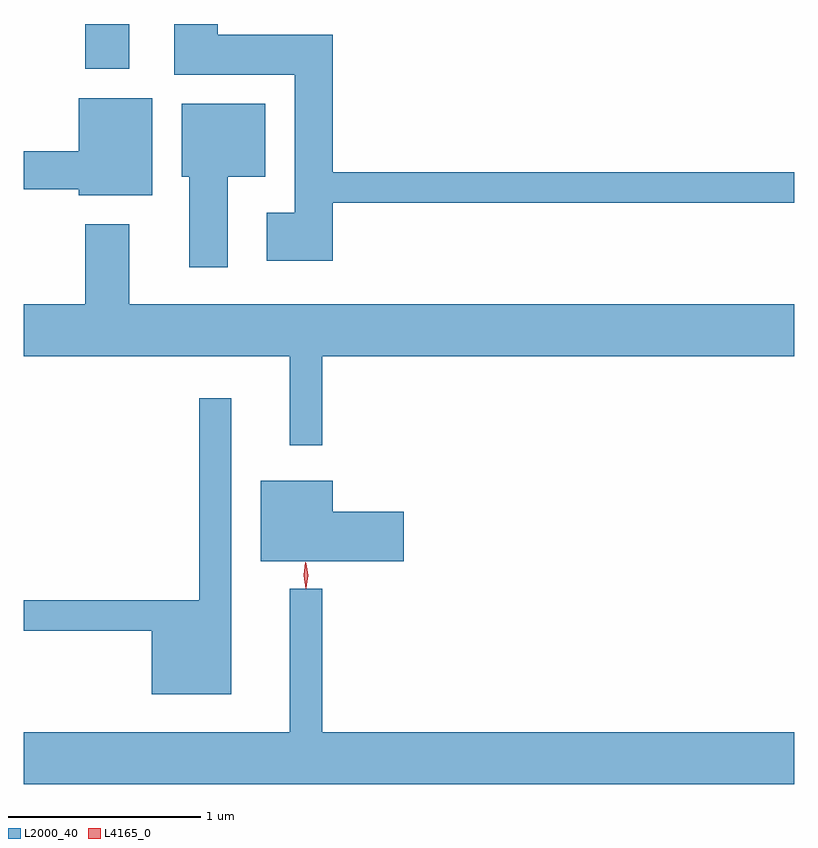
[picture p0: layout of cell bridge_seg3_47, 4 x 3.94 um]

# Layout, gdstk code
import gdstk
lib = gdstk.Library(unit=1e-6, precision=1e-09)
def R(c, l, rs):  # rectangles x0, y0, x1, y1
    for r in rs: c.add(gdstk.rectangle(r[:2], r[2:], *l))
def P(c, l, *ps):  # polygons
    for p in ps: c.add(gdstk.Polygon(p, *l))
L2000_40 = (2000, 40)
L4165_0 = (4165, 0)

bridge_seg3_47 = lib.new_cell('bridge_seg3_47')
R(bridge_seg3_47, L2000_40, [(1196.191,1207.426,1196.419,1207.659)])
P(bridge_seg3_47, L2000_40, [(1197.474,1206.731),(1199.87,1206.731),(1199.87,1206.889),(1197.474,1206.889),(1197.474,1207.604),(1196.879,1207.604),(1196.879,1207.659),(1196.651,1207.659),(1196.651,1207.396),(1197.276,1207.396),(1197.276,1206.679),(1197.131,1206.679),(1197.131,1206.431),(1197.474,1206.431)],
  [(1196.539,1207.274),(1196.156,1207.274),(1196.156,1206.999),(1195.87,1206.999),(1195.87,1206.801),(1196.156,1206.801),(1196.156,1206.771),(1196.539,1206.771)],
  [(1196.929,1206.866),(1197.124,1206.866),(1197.124,1207.244),(1196.691,1207.244),(1196.691,1206.866),(1196.731,1206.866),(1196.731,1206.396),(1196.929,1206.396)],
  [(1197.419,1205.936),(1199.87,1205.936),(1199.87,1206.204),(1196.419,1206.204),(1196.419,1206.619),(1196.191,1206.619),(1196.191,1206.204),(1195.87,1206.204),(1195.87,1205.936),(1197.251,1205.936),(1197.251,1205.473),(1197.419,1205.473)],
  [(1196.949,1205.718),(1196.781,1205.718),(1196.781,1204.669),(1195.87,1204.669),(1195.87,1204.511),(1196.536,1204.511),(1196.536,1204.181),(1196.949,1204.181)],
  [(1197.844,1205.129),(1197.474,1205.129),(1197.474,1205.289),(1197.101,1205.289),(1197.101,1204.871),(1197.844,1204.871)],
  [(1199.87,1203.984),(1197.419,1203.984),(1197.419,1204.728),(1197.251,1204.728),(1197.251,1203.984),(1195.87,1203.984),(1195.87,1203.716),(1199.87,1203.716)])
P(bridge_seg3_47, L4165_0, [(1197.334,1204.73),(1197.324,1204.798),(1197.333,1204.866),(1197.334,1204.866),(1197.334,1204.866),(1197.344,1204.798),(1197.336,1204.73),(1197.335,1204.73)],
  [(1197.338,1204.733),(1197.338,1204.734),(1197.328,1204.796),(1197.338,1204.86),(1197.338,1204.86),(1197.338,1204.86),(1197.348,1204.796),(1197.338,1204.734)])

lib.write_gds('bridge_seg3_47.gds')
